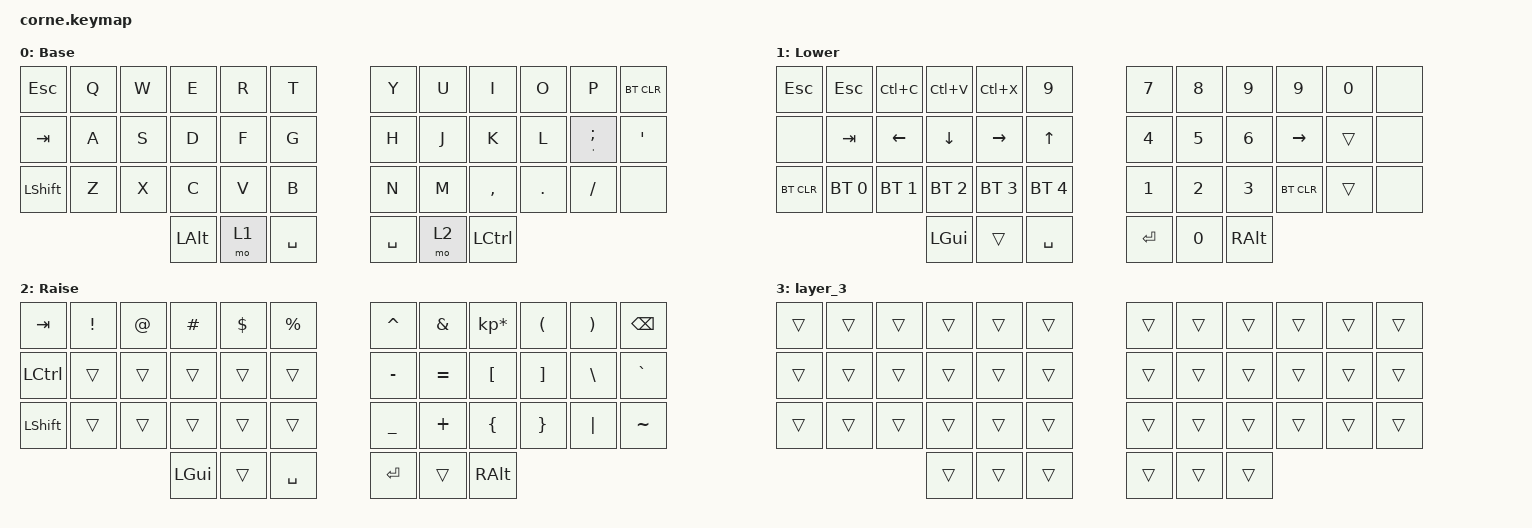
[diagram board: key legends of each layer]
/*
 * Copyright (c) 2020 The ZMK Contributors
 *
 * SPDX-License-Identifier: MIT
 */

#include <behaviors.dtsi>
#include <dt-bindings/zmk/bt.h>
#include <dt-bindings/zmk/keys.h>
#include <dt-bindings/zmk/pointing.h>

/ {
    combos {
        compatible = "zmk,combos";

        backspace {
            bindings = <&kp BACKSPACE>;
            key-positions = <10 9>;
        };

        return {
            bindings = <&kp ENTER>;
            key-positions = <22 21>;
        };

        esc {
            bindings = <&kp ESCAPE>;
            key-positions = <1 2>;
        };

        tab {
            bindings = <&kp TAB>;
            key-positions = <13 14>;
        };

        mouseleft {
            bindings = <&mmv MOVE_LEFT>;
            key-positions = <14 10>;
        };

        mousedown {
            bindings = <&mmv MOVE_DOWN>;
            key-positions = <15 10>;
        };

        mouseright {
            bindings = <&mmv MOVE_RIGHT>;
            key-positions = <16 10>;
        };

        mouseup {
            bindings = <&mmv MOVE_UP>;
            key-positions = <17 10>;
        };

        ouserightclick {
            bindings = <&mkp RCLK>;
            key-positions = <29 10>;
        };

        mouseleftclick {
            bindings = <&mkp LCLK>;
            key-positions = <28 10>;
        };
    };

    behaviors {
        apostropheorcomma: apostropheorcomma {
            compatible = "zmk,behavior-hold-tap";
            label = "APOSTROPHEORCOMMA";
            bindings = <&kp>, <&kp>;

            #binding-cells = <2>;
            tapping-term-ms = <200>;
            hold-trigger-key-positions = <22>;
            flavor = "balanced";
        };
    };

    keymap {
        compatible = "zmk,keymap";

        default_layer {
            // -----------------------------------------------------------------------------------------
            // |  TAB |  Q  |  W  |  E  |  R  |  T  |   |  Y  |  U   |  I  |  O  |  P  | BKSP |
            // | CTRL |  A  |  S  |  D  |  F  |  G  |   |  H  |  J   |  K  |  L  |  ;  |  '   |
            // | SHFT |  Z  |  X  |  C  |  V  |  B  |   |  N  |  M   |  ,  |  .  |  /  | ESC  |
            //                    | GUI | LWR | SPC |   | ENT | RSE  | ALT |

            label = "Base";
            bindings = <
&kp ESCAPE      &kp Q  &kp W  &kp E         &kp R  &kp T        &kp Y      &kp U  &kp I      &kp O       &kp P                             &bt BT_CLR
&kp TAB         &kp A  &kp S  &kp D         &kp F  &kp G        &kp H      &kp J  &kp K      &kp L       &apostropheorcomma SQT SEMICOLON  &kp APOSTROPHE
&kp LEFT_SHIFT  &kp Z  &kp X  &kp C         &kp V  &kp B        &kp N      &kp M  &kp COMMA  &kp PERIOD  &kp SLASH                         &none
                              &kp LEFT_ALT  &mo 1  &kp SPACE    &kp SPACE  &mo 2  &kp LCTRL
            >;
        };

        lower_layer {
            // -----------------------------------------------------------------------------------------
            // |  TAB |  1  |  2  |  3  |  4  |  5  |   |  6  |  7  |  8  |  9  |  0  | BKSP |
            // | BTCLR| BT1 | BT2 | BT3 | BT4 | BT5 |   | LFT | DWN |  UP | RGT |     |      |
            // | SHFT |     |     |     |     |     |   |     |     |     |     |     |      |
            //                    | GUI |     | SPC |   | ENT |     | ALT |

            label = "Lower";
            bindings = <
&kp ESCAPE  &kp ESCAPE    &kp LC(C)       &kp LC(V)       &kp LC(X)     &kp N9          &kp N7   &kp N8  &kp N9    &kp N9      &kp N0  &none
&none       &kp TAB       &kp LEFT_ARROW  &kp DOWN_ARROW  &kp RIGHT     &kp UP_ARROW    &kp N4   &kp N5  &kp N6    &kp RIGHT   &trans  &none
&bt BT_CLR  &bt BT_SEL 0  &bt BT_SEL 1    &bt BT_SEL 2    &bt BT_SEL 3  &bt BT_SEL 4    &kp N1   &kp N2  &kp N3    &bt BT_CLR  &trans  &none
                                          &kp LGUI        &trans        &kp SPACE       &kp RET  &kp N0  &kp RALT
            >;
        };

        raise_layer {
            // -----------------------------------------------------------------------------------------
            // |  TAB |  !  |  @  |  #  |  $  |  %  |   |  ^  |  &  |  *  |  (  |  )  | BKSP |
            // | CTRL |     |     |     |     |     |   |  -  |  =  |  [  |  ]  |  \  |  `   |
            // | SHFT |     |     |     |     |     |   |  _  |  +  |  {  |  }  | "|" |  ~   |
            //                    | GUI |     | SPC |   | ENT |     | ALT |

            label = "Raise";
            bindings = <
&kp TAB    &kp EXCL  &kp AT  &kp HASH  &kp DLLR  &kp PRCNT    &kp CARET  &kp AMPS   &kp KP_MULTIPLY  &kp LPAR  &kp RPAR  &kp BSPC
&kp LCTRL  &trans    &trans  &trans    &trans    &trans       &kp MINUS  &kp EQUAL  &kp LBKT         &kp RBKT  &kp BSLH  &kp GRAVE
&kp LSHFT  &trans    &trans  &trans    &trans    &trans       &kp UNDER  &kp PLUS   &kp LBRC         &kp RBRC  &kp PIPE  &kp TILDE
                             &kp LGUI  &trans    &kp SPACE    &kp RET    &trans     &kp RALT
            >;
        };

        layer_3 {
            bindings = <
&trans  &trans  &trans  &trans  &trans  &trans    &trans  &trans  &trans  &trans  &trans  &trans
&trans  &trans  &trans  &trans  &trans  &trans    &trans  &trans  &trans  &trans  &trans  &trans
&trans  &trans  &trans  &trans  &trans  &trans    &trans  &trans  &trans  &trans  &trans  &trans
                        &trans  &trans  &trans    &trans  &trans  &trans
            >;
        };
    };
};
